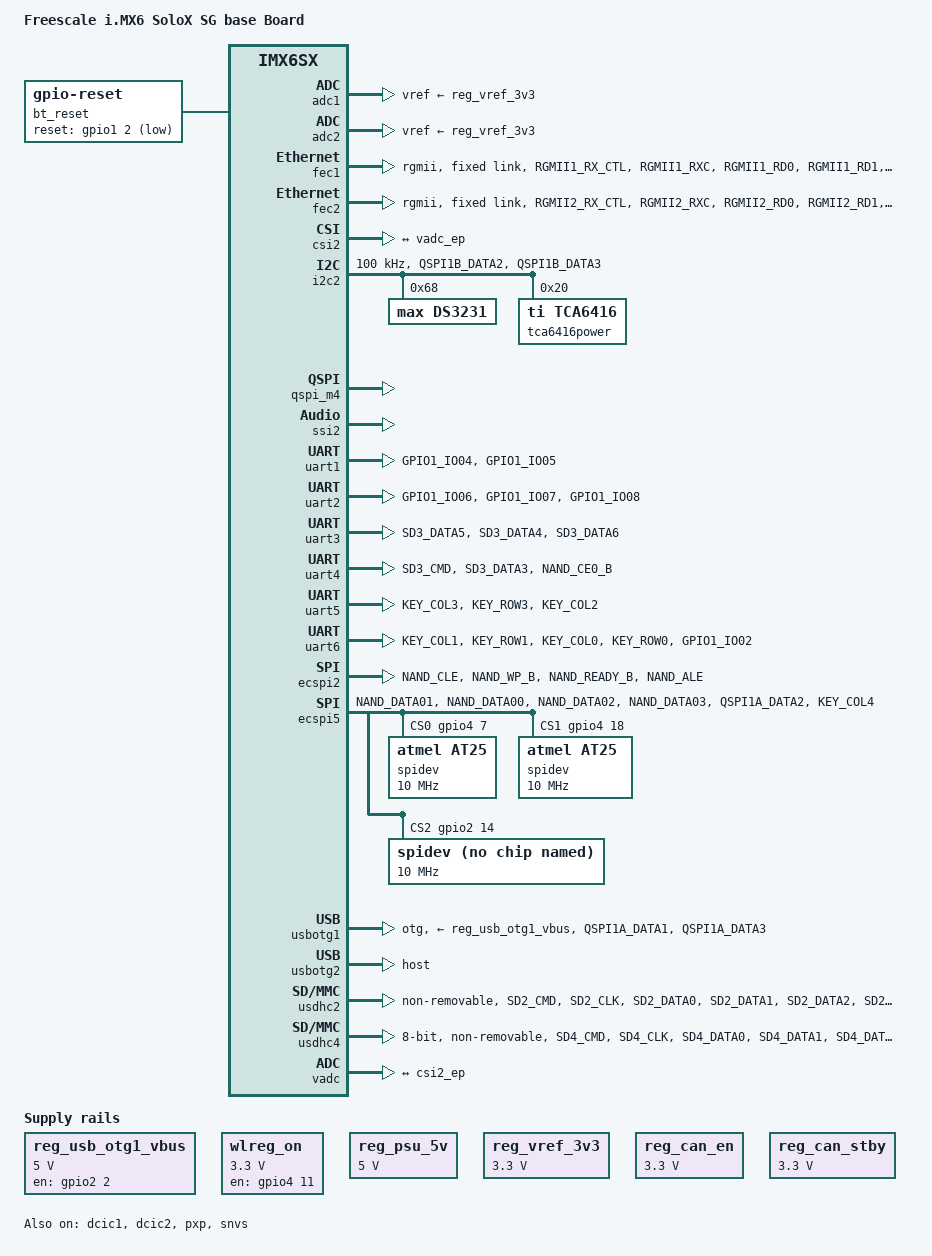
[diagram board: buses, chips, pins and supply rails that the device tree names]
/*
 * Copyright (C) 2014 Freescale Semiconductor, Inc.
 *
 * This program is free software; you can redistribute it and/or modify
 * it under the terms of the GNU General Public License version 2 as
 * published by the Free Software Foundation.
 */

/dts-v1/;

#include <dt-bindings/gpio/gpio.h>
#include <dt-bindings/input/input.h>
#include "imx6sx.dtsi"

#define ENET_RX_PAD             0x1b0E9
#define ENET_TX_PAD             0x000F9
#define ENET_CLK_PAD            0x000E9

/ {
	model = "Freescale i.MX6 SoloX SG base Board";
	compatible = "fsl,imx6sx-sg", "fsl,imx6sx";
	
	aliases {
        
	};
	
	chosen {
		stdout-path = &uart1;
		//stdout-path = &mxcfb1;
	};

	memory {
		linux,usable-memory = <0x80000000 0x1FF00000>,
                                      <0xa0000000 0x20000000>;
	};
	

	pxp_v4l2_out {
		compatible = "fsl,imx6sx-pxp-v4l2", "fsl,imx6sl-pxp-v4l2";
		status = "okay";
	};

	regulators {
		compatible = "simple-bus";
		#address-cells = <1>;
		#size-cells = <0>;

        bt_reset: bt-reset {
			compatible = "gpio-reset";
			reset-gpios = <&gpio1 2 GPIO_ACTIVE_LOW>;
			//reset-delay-us = <1000>;
			#reset-cells = <0>;
		};

		reg_usb_otg1_vbus: usb_otg1_vbus {
			compatible = "regulator-fixed";
			reg = <1>;
			pinctrl-names = "default";
			pinctrl-0 = <&pinctrl_usb_otg1_vbus>;
			regulator-name = "usb_otg1_vbus";
			regulator-min-microvolt = <5000000>;
			regulator-max-microvolt = <5000000>;
			gpio = <&gpio2 2 GPIO_ACTIVE_HIGH>;
			enable-active-high;
		};
//this is a GPIO type regulator for PWM, but for sentience gateway we don't have a GPIO to enable disable backlight

		wlreg_on: fixedregulator@100 {
			compatible = "regulator-fixed";
			regulator-min-microvolt = <3300000>;
			regulator-max-microvolt = <3300000>;
			regulator-name = "wlreg_on";
			gpio = <&gpio4 11 GPIO_ACTIVE_HIGH>;
			startup-delay-us = <100>;
			enable-active-high;
			regulator-always-on;
		};
		
		reg_psu_5v: regulator@3 {
			compatible = "regulator-fixed";
			reg = <3>;
			regulator-name = "PSU-5V0";
			regulator-min-microvolt = <5000000>;
			regulator-max-microvolt = <5000000>;
		};

		reg_vref_3v3: regulator@7 {
			compatible = "regulator-fixed";
			reg = <7>;
			regulator-name = "vref-3v3";
			regulator-min-microvolt = <3300000>;
			regulator-max-microvolt = <3300000>;
		};

		reg_can_en: regulator@9 {
			compatible = "regulator-fixed";
			reg = <9>;
			regulator-name = "can-en";
			regulator-min-microvolt = <3300000>;
			regulator-max-microvolt = <3300000>;
		};

		reg_can_stby: regulator@10 {
			compatible = "regulator-fixed";
			reg = <10>;
			regulator-name = "can-stby";
			regulator-min-microvolt = <3300000>;
			regulator-max-microvolt = <3300000>;
		};
	};
		
};


&adc1 {
	vref-supply = <&reg_vref_3v3>;
	status = "okay";
};

&adc2 {
	vref-supply = <&reg_vref_3v3>;
	status = "okay";
};

&fec1 {
	pinctrl-names = "default";
	pinctrl-0 = <&pinctrl_enet1>;
	phy-mode = "rgmii";
   	local-mac-address = [00 04 9F 01 1B 58];
	status = "okay";

        fixed-link {
	        speed = <1000>;
		full-duplex;
	};
	
};



&fec2 {
	pinctrl-names = "default";
	pinctrl-0 = <&pinctrl_enet2>;
	phy-mode = "rgmii";
   	local-mac-address = [00 04 9F 01 1B 59];
	status = "okay";

        fixed-link {
	        speed = <1000>;
		full-duplex;
	};
};


&csi2 {
	status = "okay";
	port {
		csi2_ep: endpoint {
			remote-endpoint = <&vadc_ep>;
		};
	};
};

&dcic1 {
	dcic_id = <0>;
	dcic_mux = "dcic-lcdif1";
	status = "okay";
};

&dcic2 {
	dcic_id = <1>;
	dcic_mux = "dcic-lvds";
	status = "okay";
};

&i2c2 {
	clock-frequency = <100000>;
        pinctrl-names = "default";
        pinctrl-0 = <&pinctrl_i2c2>;
	status = "okay";
	/*	
	m41t83: m41t83@68 {  
		compatible = "st,m41t83"; 
		reg = <0x68>;
            	status = "okay"; 
	};	
	*/
	ds3231: ds3231@68 {  
		compatible = "max,ds3231"; 
		reg = <0x68>;
            	status = "okay"; 
	};		
	
	tca6416power: tca6416@20 {
		compatible = "ti,tca6416";
		reg = <0x20>;
		#gpio-cells = <2>;
		gpio-controller;
	};
	
};


&ocram {
	reg = <0x00901000 0xf000>;
};


#if 1
&qspi_m4 {
	status = "okay";
};

&rpmsg{
	vdev-nums = <1>;
	reg = <0xbfff0000 0x10000>;
	status = "disabled";
};
#endif

&clks {
	fsl,shared-clks-number = <0x23>;//<0x1A>;
	fsl,shared-clks-index = <IMX6SX_CLK_PLL2_BUS IMX6SX_CLK_PLL2_PFD0
			IMX6SX_CLK_PLL2_PFD2 IMX6SX_CLK_PLL3_USB_OTG
			IMX6SX_CLK_PLL3_PFD1 IMX6SX_CLK_PLL3_PFD2
			IMX6SX_CLK_PLL3_PFD3 IMX6SX_CLK_PLL4_AUDIO
			IMX6SX_CLK_PLL5_VIDEO
			IMX6SX_CLK_OCRAM IMX6SX_CLK_CAN1_SERIAL
			IMX6SX_CLK_CAN1_IPG IMX6SX_CLK_CAN2_SERIAL
			IMX6SX_CLK_CAN2_IPG IMX6SX_CLK_CANFD
			IMX6SX_CLK_ECSPI1 IMX6SX_CLK_ECSPI2
			IMX6SX_CLK_ECSPI3 IMX6SX_CLK_ECSPI4
			IMX6SX_CLK_ECSPI5 IMX6SX_CLK_QSPI1
			IMX6SX_CLK_QSPI2 IMX6SX_CLK_SSI1
			IMX6SX_CLK_SSI2 IMX6SX_CLK_SSI3
			IMX6SX_CLK_UART_SERIAL IMX6SX_CLK_UART_IPG
			IMX6SX_CLK_PERIPH_CLK2_SEL IMX6SX_CLK_DUMMY
			IMX6SX_CLK_I2C1 IMX6SX_CLK_I2C2
			IMX6SX_CLK_I2C3 IMX6SX_CLK_I2C4
			IMX6SX_CLK_EPIT1 IMX6SX_CLK_EPIT2>;
	fsl,shared-mem-addr = <0x91F000>;
	fsl,shared-mem-size = <0x1000>;
};

/*
&pwm1 {
	pinctrl-names = "default";
	pinctrl-0 = <&pinctrl_pwm1_0>;
	status = "okay";
};

&pwm2 {
	pinctrl-names = "default";
	pinctrl-0 = <&pinctrl_pwm2_0>;
	status = "okay";
};

&pwm3 {
	pinctrl-names = "default";
	pinctrl-0 = <&pinctrl_pwm3_0>;
	status = "okay";
};

&pwm4 {
	pinctrl-names = "default";
	pinctrl-0 = <&pinctrl_pwm4_0>;
	status = "okay";
};
*/

&pxp {
	status = "okay";
};

&snvs{
	status = "okay";
};


&ssi2 {
	fsl,mode = "i2s-slave";
	status = "okay";
};



&uart1 {
	pinctrl-names = "default";
	pinctrl-0 = <&pinctrl_uart1>;
	status = "okay";
};

&uart2 {
	pinctrl-names = "default";
	pinctrl-0 = <&pinctrl_uart2>;
	fsl,uart-has-rtscts;
	fsl,rs485-gpio-txen = <&gpio1 8 GPIO_ACTIVE_HIGH>;
	status = "okay";
};

&uart3 {
	pinctrl-names = "default";
	pinctrl-0 = <&pinctrl_uart3>;
	fsl,uart-has-rtscts;
	fsl,rs485-gpio-txen = <&gpio7 8 GPIO_ACTIVE_HIGH>;
	status = "okay";
};

&uart4 {
	pinctrl-names = "default";
	pinctrl-0 = <&pinctrl_uart4>;
	fsl,uart-has-rtscts;
	fsl,rs485-gpio-txen = <&gpio4 1 GPIO_ACTIVE_HIGH>;	
	status = "okay";
};

&uart5 {
	pinctrl-names = "default";
	pinctrl-0 = <&pinctrl_uart5>;
	fsl,uart-has-rtscts;
	fsl,rs485-gpio-txen = <&gpio2 12 GPIO_ACTIVE_HIGH>;	
	status = "okay";
};

&uart6 {
	pinctrl-names = "default";
	pinctrl-0 = <&pinctrl_uart6
                &pinctrl_bt>;
	fsl,uart-has-rtscts;
	resets = <&bt_reset>;
	status = "okay";
};


&ecspi2 {
	fsl,spi-num-chipselects = <1>;
	cs-gpios = <&gpio4 0 0>;
	pinctrl-names = "default";
	pinctrl-0 = <&pinctrl_ecspi2>;
	status = "okay";

/*
	flash: m25p80@0 {
		#address-cells = <1>;
		#size-cells = <1>;
		compatible = "st,m25p32";
		spi-max-frequency = <20000000>;
		reg = <0>;
	};
*/
};


//PORT3(PORT7)
&ecspi5 {
	fsl,spi-num-chipselects = <3>;
	cs-gpios = <&gpio4 7 0>, <&gpio4 18 0>, <&gpio2 14 0>;
	pinctrl-names = "default";
	pinctrl-0 = <&pinctrl_ecspi5>;
	status = "okay";
	
	spidev@0 {
		compatible = "atmel,at25";
		spi-max-frequency = <10000000>;
		reg = <0>;
	    pagesize = <256>;
		size = <524288>;
                address-width = <24>;	
		
	};
	spidev@1 {
		compatible = "atmel,at25";
		spi-max-frequency = <10000000>;
		reg = <1>;
		pagesize = <256>;
		size = <262144>;
                address-width = <24>;	
	};

	spidev@2 {
  	    compatible = "spidev";
        spi-max-frequency = <10000000>;
		reg = <2>;
		dmas = <&sdma 11 7 1>, <&sdma 12 7 2>;
		dma-names = "rx", "tx";
	};
};

&usbotg1 {
	vbus-supply = <&reg_usb_otg1_vbus>;
	pinctrl-names = "default";
	pinctrl-0 = <&pinctrl_usb_otg1_id>;
	//disable-over-current;
	srp-disable;
	hnp-disable;
	adp-disable;
	//output-high;
	dr_mode = "otg";
	status = "okay";
};

&usbotg2 {
	pinctrl-names = "default";
	srp-disable;
	hnp-disable;
	adp-disable;
	dr_mode = "host";
	status = "okay";
};


&usdhc2 {
	pinctrl-names = "default";
	pinctrl-0 = <&pinctrl_usdhc2>;
	non-removable;
	no-1-8-v;
	keep-power-in-suspend;
	enable-sdio-wakeup;
	max-frequency = <30000000>;
	status = "okay";
};

&usdhc4 
{
	pinctrl-names = "default";
	pinctrl-0 = <&pinctrl_usdhc4_1>;
	bus-width = <8>;
	non-removable;
	no-1-8-v;
	keep-power-in-suspend;
	enable-sdio-wakeup;
	status = "okay";
};

&iomuxc {
	pinctrl-names = "default";
	pinctrl-0 = <&pinctrl_hog_1>;
	imx6x-sg {
		pinctrl_hog_1: hoggrp-1 {
			fsl,pins = <
				MX6SX_PAD_USB_H_DATA__GPIO7_IO_10	0x83030
			>;
		};
		
		pinctrl_enet1: enet1grp {
			fsl,pins = <
                        	MX6SX_PAD_RGMII1_RX_CTL__ENET1_RX_EN   ENET_RX_PAD
                        	MX6SX_PAD_RGMII1_RXC__ENET1_RX_CLK     ENET_RX_PAD
                        	MX6SX_PAD_RGMII1_RD0__ENET1_RX_DATA_0  ENET_RX_PAD
                        	MX6SX_PAD_RGMII1_RD1__ENET1_RX_DATA_1  ENET_RX_PAD
                        	MX6SX_PAD_RGMII1_RD2__ENET1_RX_DATA_2  ENET_RX_PAD
                        	MX6SX_PAD_RGMII1_RD3__ENET1_RX_DATA_3  ENET_RX_PAD
                        	MX6SX_PAD_RGMII1_TX_CTL__ENET1_TX_EN   ENET_TX_PAD
                        	MX6SX_PAD_RGMII1_TXC__ENET1_RGMII_TXC  ENET_CLK_PAD
                        	MX6SX_PAD_RGMII1_TD0__ENET1_TX_DATA_0  ENET_TX_PAD
                        	MX6SX_PAD_RGMII1_TD1__ENET1_TX_DATA_1  ENET_TX_PAD
                        	MX6SX_PAD_RGMII1_TD2__ENET1_TX_DATA_2  ENET_TX_PAD
                        	MX6SX_PAD_RGMII1_TD3__ENET1_TX_DATA_3  ENET_TX_PAD
				
			>;
		};

		pinctrl_enet2: enet2grp-1{
			fsl,pins = <
				
                		    MX6SX_PAD_RGMII2_RX_CTL__ENET2_RX_EN   ENET_RX_PAD
                        	MX6SX_PAD_RGMII2_RXC__ENET2_RX_CLK     ENET_RX_PAD
                        	MX6SX_PAD_RGMII2_RD0__ENET2_RX_DATA_0  ENET_RX_PAD
                        	MX6SX_PAD_RGMII2_RD1__ENET2_RX_DATA_1  ENET_RX_PAD
                        	MX6SX_PAD_RGMII2_RD2__ENET2_RX_DATA_2  ENET_RX_PAD
                        	MX6SX_PAD_RGMII2_RD3__ENET2_RX_DATA_3  ENET_RX_PAD
                        	MX6SX_PAD_RGMII2_TX_CTL__ENET2_TX_EN   ENET_TX_PAD
                        	MX6SX_PAD_RGMII2_TXC__ENET2_RGMII_TXC  ENET_CLK_PAD
                        	MX6SX_PAD_RGMII2_TD0__ENET2_TX_DATA_0  ENET_TX_PAD
                        	MX6SX_PAD_RGMII2_TD1__ENET2_TX_DATA_1  ENET_TX_PAD
                        	MX6SX_PAD_RGMII2_TD2__ENET2_TX_DATA_2  ENET_TX_PAD
                        	MX6SX_PAD_RGMII2_TD3__ENET2_TX_DATA_3  ENET_TX_PAD
                            MX6SX_PAD_NAND_CE1_B__GPIO4_IO_2	   0xb099
				
                >;
		};

		
                pinctrl_csi_0: csigrp-0 {
                        fsl,pins = <
                                MX6SX_PAD_LCD1_DATA07__CSI1_MCLK        0x110b0
                                MX6SX_PAD_LCD1_DATA06__CSI1_PIXCLK      0x110b9
                                MX6SX_PAD_LCD1_DATA04__CSI1_VSYNC       0x110b0
                                MX6SX_PAD_LCD1_DATA05__CSI1_HSYNC       0x110b0
                                //MX6SX_PAD_LCD1_DATA17__CSI1_DATA_0      0x110b0
                                //MX6SX_PAD_LCD1_DATA16__CSI1_DATA_1      0x110b0
                                MX6SX_PAD_LCD1_DATA15__CSI1_DATA_2      0x110b0
                                MX6SX_PAD_LCD1_DATA14__CSI1_DATA_3      0x110b0
                                MX6SX_PAD_LCD1_DATA13__CSI1_DATA_4      0x110b0
                                MX6SX_PAD_LCD1_DATA12__CSI1_DATA_5      0x110b0
                                MX6SX_PAD_LCD1_DATA11__CSI1_DATA_6      0x110b0
                                MX6SX_PAD_LCD1_DATA10__CSI1_DATA_7      0x110b0
                                MX6SX_PAD_LCD1_DATA09__CSI1_DATA_8      0x110b0
                                MX6SX_PAD_LCD1_DATA08__CSI1_DATA_9      0x110b0

                                //MX6SX_PAD_LCD1_RESET__GPIO3_IO_27       0x80000000
                                //MX6SX_PAD_LCD1_VSYNC__GPIO3_IO_28       0x80000000

				//MX6SX_PAD_LCD1_DATA03__GPIO3_IO_4 0x80000000                        
				//MX6SX_PAD_LCD1_DATA02__GPIO3_IO_3 0x80000000                        

				MX6SX_PAD_LCD1_DATA16__GPIO3_IO_17 0x80000000                        
				MX6SX_PAD_LCD1_DATA17__GPIO3_IO_18  0x80000000
                        >;
                };


		pinctrl_gpmi_nand: gpmi-nand {
			fsl,pins = <
				MX6SX_PAD_NAND_CLE__RAWNAND_CLE         0xb0b1
				MX6SX_PAD_NAND_ALE__RAWNAND_ALE         0xb091
				MX6SX_PAD_NAND_WP_B__RAWNAND_WP_B       0xb0b1
				MX6SX_PAD_NAND_READY_B__RAWNAND_READY_B 0xb000
				MX6SX_PAD_NAND_CE0_B__RAWNAND_CE0_B     0xb0b1
				MX6SX_PAD_NAND_RE_B__RAWNAND_RE_B       0xb091
				MX6SX_PAD_NAND_WE_B__RAWNAND_WE_B       0xb091
				MX6SX_PAD_NAND_DATA00__RAWNAND_DATA00   0xb091
				MX6SX_PAD_NAND_DATA01__RAWNAND_DATA01   0xb091
				MX6SX_PAD_NAND_DATA02__RAWNAND_DATA02   0xb091
				MX6SX_PAD_NAND_DATA03__RAWNAND_DATA03   0xb091
				MX6SX_PAD_NAND_DATA04__RAWNAND_DATA04   0xb091
				MX6SX_PAD_NAND_DATA05__RAWNAND_DATA05   0xb091
				MX6SX_PAD_NAND_DATA06__RAWNAND_DATA06   0xb091
				MX6SX_PAD_NAND_DATA07__RAWNAND_DATA07   0xb091
			>;
		};
		/*
		pinctrl_i2c1: i2c1grp {
			fsl,pins = <
				MX6SX_PAD_GPIO1_IO01__I2C1_SDA		0x4001b8b1
				MX6SX_PAD_GPIO1_IO00__I2C1_SCL		0x4001b8b1
			>;
		};
		*/
		pinctrl_i2c2: i2c2grp {
			fsl,pins = <
				MX6SX_PAD_QSPI1B_DATA2__I2C2_SDA 0x4001b8b1                          
				MX6SX_PAD_QSPI1B_DATA3__I2C2_SCL  0x4001b8b1
			>;
		};
		
		/*
		pinctrl_i2c3: i2c3grp {
			fsl,pins = <
				MX6SX_PAD_KEY_ROW4__I2C3_SDA 0x4001b8b1
				MX6SX_PAD_KEY_COL4__I2C3_SCL 0x4001b8b1
			>;
		};
		*/

		/*
		pinctrl_i2c4: i2c4grp {
			fsl,pins = <
				MX6SX_PAD_SD3_DATA0__I2C4_SCL		0x4001b8b1
				MX6SX_PAD_SD3_DATA1__I2C4_SDA		0x4001b8b1
				MX6SX_PAD_NAND_DATA04__GPIO4_IO_8	0x1b0b1
			>;
		};
		*/
		
		pinctrl_pwm1_0: pwm1grp-0 {
			fsl,pins = <
				MX6SX_PAD_GPIO1_IO10__PWM1_OUT 0x1b0b1  //old: 0x110b0
			>;
		};
		
		pinctrl_pwm2_0: pwm2grp-0 {
			fsl,pins = <
				MX6SX_PAD_GPIO1_IO11__PWM2_OUT 0x1b0b1	//old: 0x110b0
			>;
		};
		
		pinctrl_pwm3_0: pwm3grp-0 {
			fsl,pins = <
				MX6SX_PAD_GPIO1_IO12__PWM3_OUT 0x1b0b1	//old: 0x110b0
			>;
		};
		
		pinctrl_pwm4_0: pwm4grp-0 {
			fsl,pins = <
				MX6SX_PAD_GPIO1_IO13__PWM4_OUT 0x1b0b1	//old: 0x110b0
			>;
		};

		pinctrl_lcd: lcdgrp {
			fsl,pins = <
				//MX6SX_PAD_RGMII1_RXC__GPIO5_IO_5		0x80000000
				//MX6SX_PAD_ENET1_RX_CLK__GPIO2_IO_4       0xb099 
				//MX6SX_PAD_ENET2_COL__GPIO2_IO_6			0x80000000
			>;
		};
		
		pinctrl_mqs: mqsgrp {
			fsl,pins = <
				//MX6SX_PAD_SD2_CLK__MQS_RIGHT 0x120b0
				//MX6SX_PAD_SD2_CMD__MQS_LEFT  0x120b0
			>;
		};


		pinctrl_peri_3v3: peri3v3grp {
			fsl,pins = <
				MX6SX_PAD_QSPI1A_DATA0__GPIO4_IO_16	0x80000000
			>;
		};
		
		pinctrl_uart1: uart1grp {// uart1 is used as IO. Console removed
			fsl,pins = <				
				MX6SX_PAD_GPIO1_IO04__UART1_TX          0x1b0b1
                MX6SX_PAD_GPIO1_IO05__UART1_RX          0x1b0b1				
			>;
		};
		
		pinctrl_uart2: uart2grp {// J7 for modbus 485
			fsl,pins = <
				MX6SX_PAD_GPIO1_IO06__UART2_TX		0x1b0b1
				MX6SX_PAD_GPIO1_IO07__UART2_RX		0x1b0b1
				MX6SX_PAD_GPIO1_IO08__GPIO1_IO_8	0x1b0b1
			>;
		};

		pinctrl_uart3: uart3grp {
			fsl,pins = <
				MX6SX_PAD_SD3_DATA5__UART3_TX		0x1b0b1
				MX6SX_PAD_SD3_DATA4__UART3_RX		0x1b0b1
				MX6SX_PAD_SD3_DATA6__GPIO7_IO_8		0x1b0b1
			>;
		};
		
		//PORT5,test 485
		pinctrl_uart4: uart4grp {
			fsl,pins = <
				MX6SX_PAD_SD3_CMD__UART4_TX		0x1b0b1
				MX6SX_PAD_SD3_DATA3__UART4_RX		0x1b0b1
				MX6SX_PAD_NAND_CE0_B__GPIO4_IO_1        0x1b0b1			
			>;
		};

		pinctrl_uart5: uart5grp {// uart5 is used by M4 console
			fsl,pins = <
				MX6SX_PAD_KEY_COL3__UART5_TX		0x1b0b1
				MX6SX_PAD_KEY_ROW3__UART5_RX		0x1b0b1
				MX6SX_PAD_KEY_COL2__GPIO2_IO_12     0x1b0b1

			>;
		};
        
		pinctrl_bt: btgrp {
         		fsl,pins = <
             			//MX6SX_PAD_NAND_RE_B__GPIO4_IO_12      0x13069 
					MX6SX_PAD_GPIO1_IO02__GPIO1_IO_2        0x13069
          			 >;
                };/* BT_REG_ON */

		pinctrl_uart6: uart6grp {// uart6 is for x4 485
			fsl,pins = <
				MX6SX_PAD_KEY_COL1__UART6_TX 0x1b0b1
				MX6SX_PAD_KEY_ROW1__UART6_RX 0x1b0b1
				MX6SX_PAD_KEY_COL0__UART6_RTS_B       0x1b0b1
			    MX6SX_PAD_KEY_ROW0__UART6_CTS_B       0x1b0b1
			>;
		};
		
		pinctrl_wdog2: wdoggrp { //wdog grp
                        fsl,pins = <
                                MX6SX_PAD_KEY_ROW4__GPIO2_IO_19 0x1b0b1         
                        >;
                };	
		
		/*
		pinctrl_ecspi1: ecspi1grp {
			fsl,pins = <
				MX6SX_PAD_KEY_ROW0__ECSPI1_MOSI			0x1b089//QSPI1A_DATA0
				MX6SX_PAD_KEY_COL1__ECSPI1_MISO			0x1b0b9//QSPI1A_DATA1
				MX6SX_PAD_KEY_COL0__ECSPI1_SCLK			0x1b089//QSPI1A_SCLK
				MX6SX_PAD_KEY_ROW1__ECSPI1_SS0			0x0b089//QSPI1A_SS0_B
				MX6SX_PAD_QSPI1A_DATA0__ECSPI1_MOSI	0x1b0b9		//0x1b089
				MX6SX_PAD_QSPI1A_DATA1__ECSPI1_MISO	0x1b0b9		//0x1b0b9
				MX6SX_PAD_QSPI1A_SCLK__ECSPI1_SCLK	0x1b0b9		//0x1b0b9
				MX6SX_PAD_QSPI1A_SS0_B__ECSPI1_SS0	0x0b0b9		//0x0b089
			>;
		};
		*/
		
		pinctrl_ecspi2: ecspi2grp {
			fsl,pins = <
				MX6SX_PAD_NAND_CLE__ECSPI2_SCLK			0x100b1
				MX6SX_PAD_NAND_WP_B__ECSPI2_MOSI		0x100b1
				MX6SX_PAD_NAND_READY_B__ECSPI2_MISO		0x100b1
				MX6SX_PAD_NAND_ALE__GPIO4_IO_0			0x100b1
				//MX6SX_PAD_NAND_ALE__ECSPI2_SS0
			>;
		};
		
		pinctrl_ecspi5: ecspi5grp {
			fsl,pins = <
				MX6SX_PAD_NAND_DATA01__ECSPI5_MOSI 	   0x100b1     //0x1b089//QSPI1A_DQS
				MX6SX_PAD_NAND_DATA00__ECSPI5_MISO 	   0x100b1     //QSPI1A_SS1_B
				MX6SX_PAD_NAND_DATA02__ECSPI5_SCLK     0x100b1     //0x1b089//QSPI1B_SS1_B
				MX6SX_PAD_NAND_DATA03__GPIO4_IO_7      0x100b1  	//0x0b089//QSPI1B_DQS
				//MX6SX_PAD_QSPI1A_DATA2__ECSPI5_SS1     0x100b1  	//0x0b089//QSPI1B_DQS
				MX6SX_PAD_QSPI1A_DATA2__GPIO4_IO_18     0x100b1
				//MX6SX_PAD_QSPI1B_DATA3__GPIO4_IO_27    0x100b1  	//0x0b089//QSPI1B_DQS
				MX6SX_PAD_KEY_COL4__GPIO2_IO_14          0x100b1    //carried board modify
			>;
		};
			

		pinctrl_usb_otg1_vbus: usbotg1vbusgrp {
			fsl,pins = <
				//MX6SX_PAD_QSPI1A_DATA3__GPIO4_IO_19     0x10b0
				MX6SX_PAD_ENET1_MDC__GPIO2_IO_2         0x10b0
			>;
		};

		pinctrl_usb_otg1_id: usbotg1idgrp {
			fsl,pins = <
				MX6SX_PAD_QSPI1A_DATA1__ANATOP_OTG1_ID 	0x17059
				MX6SX_PAD_QSPI1A_DATA3__USB_OTG1_OC	0x17059
			>;
		};

		
		pinctrl_usdhc2: usdhc2grp 
		{
			fsl,pins = 
			<
				MX6SX_PAD_SD2_CMD__USDHC2_CMD		0x17069
				MX6SX_PAD_SD2_CLK__USDHC2_CLK		0x10071
				MX6SX_PAD_SD2_DATA0__USDHC2_DATA0	0x17069
				MX6SX_PAD_SD2_DATA1__USDHC2_DATA1	0x17069
				MX6SX_PAD_SD2_DATA2__USDHC2_DATA2	0x17069
				MX6SX_PAD_SD2_DATA3__USDHC2_DATA3	0x17069
				MX6SX_PAD_NAND_ALE__GPIO4_IO_0		0x170D1
				MX6SX_PAD_NAND_DATA07__GPIO4_IO_11      0x170D1
				//MX6SX_PAD_NAND_DATA06__GPIO4_IO_10	0x170D1
			>;
		};
		pinctrl_usdhc4_1: usdhc4grp-1 
		{
			fsl,pins = 
			<
				MX6SX_PAD_SD4_CMD__USDHC4_CMD		0x170D1
				MX6SX_PAD_SD4_CLK__USDHC4_CLK		0x100f9
				MX6SX_PAD_SD4_DATA0__USDHC4_DATA0	0x170D1
				MX6SX_PAD_SD4_DATA1__USDHC4_DATA1	0x170D1
				MX6SX_PAD_SD4_DATA2__USDHC4_DATA2	0x170D1
				MX6SX_PAD_SD4_DATA3__USDHC4_DATA3	0x170D1
				MX6SX_PAD_SD4_DATA4__USDHC4_DATA4	0x170D1
				MX6SX_PAD_SD4_DATA5__USDHC4_DATA5	0x170D1
				MX6SX_PAD_SD4_DATA6__USDHC4_DATA6	0x170D1
				MX6SX_PAD_SD4_DATA7__USDHC4_DATA7	0x170D1
				MX6SX_PAD_SD4_RESET_B__USDHC4_RESET_B	0x170D1
			>;
		};
		
	};
};

&vadc {
	vadc_in = <0>;
	csi_id = <1>;
	status = "okay";
	port {
		vadc_ep: endpoint {
			remote-endpoint = <&csi2_ep>;
		};
	};
};





